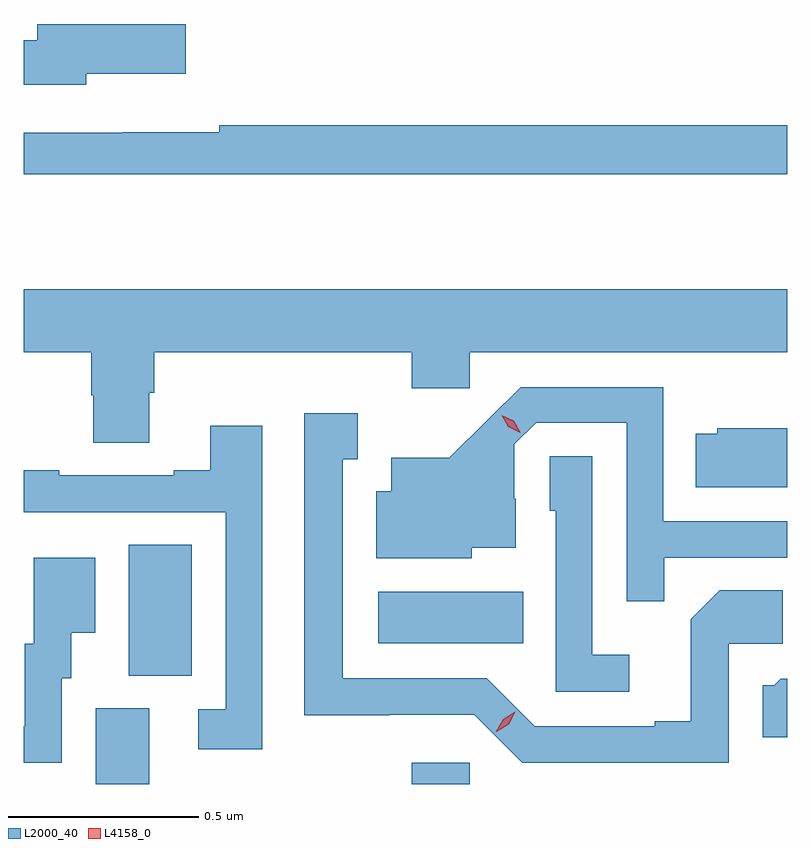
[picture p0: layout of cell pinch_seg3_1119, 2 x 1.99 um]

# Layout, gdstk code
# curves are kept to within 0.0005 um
import gdstk
lib = gdstk.Library(unit=1e-6, precision=1e-09)
def R(c, l, rs):  # rectangles x0, y0, x1, y1
    for r in rs: c.add(gdstk.rectangle(r[:2], r[2:], *l))
def P(c, l, *ps):  # polygons
    for p in ps: c.add(gdstk.Polygon(p, *l))
L2000_40 = (2000, 40)
L4158_0 = (4158, 0)

pinch_seg3_1119 = lib.new_cell('pinch_seg3_1119')
R(pinch_seg3_1119, L2000_40, [(318.011,718.433,318.151,718.632), (318.839,718.433,318.99,718.489), (318.098,718.717,318.262,719.06), (318.75,718.802,319.13,718.936)])
P(pinch_seg3_1119, L2000_40, [(317.986,720.293),(318.247,720.293),(318.247,720.423),(317.858,720.423),(317.858,720.38),(317.822,720.38),(317.822,720.264),(317.986,720.264)],
  [(319.822,720.158),(318.334,720.158),(318.334,720.139),(318.082,720.139),(318.082,720.138),(317.822,720.138),(317.822,720.03),(319.822,720.03)],
  [(318.151,719.458),(318.164,719.458),(318.164,719.564),(318.839,719.564),(318.839,719.469),(318.99,719.469),(318.99,719.564),(319.822,719.564),(319.822,719.728),(317.822,719.728),(317.822,719.564),(317.999,719.564),(317.999,719.451),(318.004,719.451),(318.004,719.326),(318.151,719.326)],
  [(319.499,719.025),(319.822,719.025),(319.822,719.121),(319.497,719.121),(319.497,719.472),(319.124,719.472),(318.937,719.287),(318.785,719.287),(318.785,719.2),(318.746,719.2),(318.746,719.024),(318.996,719.024),(318.996,719.051),(319.111,719.051),(319.111,719.18),(319.107,719.18),(319.107,719.322),(319.164,719.379),(319.401,719.379),(319.401,718.912),(319.499,718.912)],
  [(319.668,718.8),(319.81,718.8),(319.81,718.94),(319.645,718.94),(319.569,718.864),(319.569,718.597),(319.475,718.597),(319.475,718.584),(319.161,718.584),(319.035,718.71),(318.658,718.71),(318.658,719.283),(318.697,719.283),(318.697,719.404),(318.557,719.404),(318.557,718.613),(318.78,718.613),(318.78,718.614),(319.002,718.614),(319.128,718.488),(319.668,718.488)],
  [(318.447,719.371),(318.311,719.371),(318.311,719.254),(318.215,719.254),(318.215,719.241),(317.915,719.241),(317.915,719.254),(317.822,719.254),(317.822,719.145),(318.351,719.145),(318.351,718.629),(318.279,718.629),(318.279,718.524),(318.447,718.524)],
  [(319.822,719.365),(319.638,719.365),(319.638,719.35),(319.582,719.35),(319.582,719.21),(319.822,719.21)],
  [(319.408,718.771),(319.311,718.771),(319.311,719.291),(319.2,719.291),(319.2,719.148),(319.215,719.148),(319.215,718.674),(319.408,718.674)],
  [(317.922,718.71),(317.947,718.71),(317.947,718.829),(318.01,718.829),(318.01,719.026),(317.849,719.026),(317.849,718.8),(317.825,718.8),(317.825,718.584),(317.822,718.584),(317.822,718.488),(317.922,718.488)],
  [(319.822,718.708),(319.804,718.708),(319.788,718.692),(319.757,718.692),(319.757,718.556),(319.822,718.556)])
P(pinch_seg3_1119, L4158_0, [(319.122,719.353),(319.091,719.369),(319.074,719.399),(319.074,719.399),(319.074,719.399),(319.105,719.384),(319.122,719.354),(319.122,719.353)],
  [(319.06,718.57),(319.06,718.571),(319.078,718.603),(319.109,718.622),(319.11,718.622),(319.11,718.622),(319.092,718.589),(319.061,718.57)])

lib.write_gds('pinch_seg3_1119.gds')
